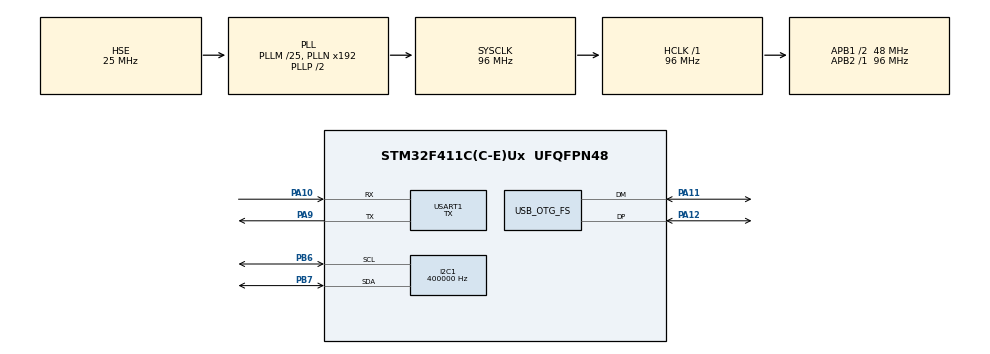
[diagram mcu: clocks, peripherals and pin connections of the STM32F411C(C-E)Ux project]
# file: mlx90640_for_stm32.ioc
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I2C1.ClockSpeed=400000
I2C1.I2C_Mode=I2C_Fast
Mcu.Family=STM32F4
Mcu.Name=STM32F411C(C-E)Ux
Mcu.Package=UFQFPN48
NVIC.OTG_FS_IRQn=true\:0\:0\:false\:false\:true\:false\:true\:true
NVIC.PriorityGroup=NVIC_PRIORITYGROUP_4
PA10.Mode=Asynchronous
PA10.Signal=USART1_RX
PA11.Mode=Device_Only
PA11.Signal=USB_OTG_FS_DM
PA12.Mode=Device_Only
PA12.Signal=USB_OTG_FS_DP
PA9.Mode=Asynchronous
PA9.Signal=USART1_TX
PB6.Mode=I2C
PB6.Signal=I2C1_SCL
PB7.Mode=I2C
PB7.Signal=I2C1_SDA
PH0\ -\ OSC_IN.Mode=HSE-External-Oscillator
PH0\ -\ OSC_IN.Signal=RCC_OSC_IN
PH1\ -\ OSC_OUT.Mode=HSE-External-Oscillator
PH1\ -\ OSC_OUT.Signal=RCC_OSC_OUT
ProjectManager.HeapSize=0x200
ProjectManager.StackSize=0x10000
ProjectManager.TargetToolchain=MDK-ARM V5.32
RCC.48MHZClocksFreq_Value=48000000
RCC.AHBFreq_Value=96000000
RCC.APB1CLKDivider=RCC_HCLK_DIV2
RCC.APB1Freq_Value=48000000
RCC.APB1TimFreq_Value=96000000
RCC.APB2Freq_Value=96000000
RCC.APB2TimFreq_Value=96000000
RCC.CortexFreq_Value=96000000
RCC.HCLKFreq_Value=96000000
RCC.HSE_VALUE=25000000
RCC.HSI_VALUE=16000000
RCC.LSE_VALUE=32768
RCC.PLLM=25
RCC.SYSCLKFreq_VALUE=96000000
RCC.SYSCLKSource=RCC_SYSCLKSOURCE_PLLCLK
RCC.VCOOutputFreq_Value=192000000
USART1.Mode=MODE_TX
USART1.VirtualMode=VM_ASYNC
USB_DEVICE.CLASS_NAME_FS=CDC
USB_DEVICE.MANUFACTURER_STRING=MLX90640_DEV
USB_DEVICE.PRODUCT_STRING_CDC_FS=MLX90640
USB_DEVICE.VirtualMode=Cdc
USB_DEVICE.VirtualModeFS=Cdc_FS
USB_OTG_FS.VirtualMode=Device_Only
VP_USB_DEVICE_VS_USB_DEVICE_CDC_FS.Mode=CDC_FS
board=custom

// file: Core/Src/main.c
/* USER CODE BEGIN Header */
/**
  ******************************************************************************
  * @file           : main.c
  * @brief          : Main program body
  ******************************************************************************
  * @attention
  *
  * Copyright (c) 2023 STMicroelectronics.
  * All rights reserved.
  *
  * This software is licensed under terms that can be found in the LICENSE file
  * in the root directory of this software component.
  * If no LICENSE file comes with this software, it is provided AS-IS.
  *
  ******************************************************************************
  */
/* USER CODE END Header */
#include "main.h"
#include "usb_device.h"

/* USER CODE BEGIN Includes */
#include <stdio.h>
#include "MLX90640_API.h"
#include "usbd_cdc_if.h"
/* USER CODE END Includes */

/* USER CODE BEGIN PD */

#define  FPS2HZ   0x02
#define  FPS4HZ   0x03
#define  FPS8HZ   0x04
#define  FPS16HZ  0x05
#define  FPS32HZ  0x06
#define  MLX90640_ADDR 0x33

#define  TA_SHIFT 8 //Default shift for MLX90640 in open air

#define USB_SET_CMD	(0xAA)	/* usb cdc 控制下发此命令，则认为控制mlx90640 */

/* USER CODE END PD */

I2C_HandleTypeDef hi2c1;

UART_HandleTypeDef huart1;

/* USER CODE BEGIN PV */

static uint16_t eeMLX90640[832];
static float mlx90640To[768];
static int16_t usb_buffer[768 + 8];	//四个 0xFFFF帧头�?+ 四个 0xEFEF 帧尾
uint16_t frame[834];
float emissivity=0.95;

/* fps 设置 */
uint8_t	RefreshRate = FPS16HZ;
uint8_t delay_fps = 16;	//默认16

enum type_def{
	type_null				= 0,
	type_set_fps,
	type_get_fps,
} ;

#define USB_CONTROL_DATA_SIZE	(12)
volatile struct {
	uint8_t flag;
	uint8_t type;
	uint8_t length;
	uint8_t data[USB_CONTROL_DATA_SIZE];
	uint8_t data_tx[USB_CONTROL_DATA_SIZE];
} usb_control_hand;

paramsMLX90640 mlx90640;

/* USER CODE END PV */

void SystemClock_Config(void);
static void MX_GPIO_Init(void);
static void MX_I2C1_Init(void);
static void MX_USART1_UART_Init(void);
/* USER CODE BEGIN PFP */

void usb_control_handler(void);
void mlx90640_refresh(void);

/* USER CODE END PFP */

/* USER CODE BEGIN 0 */
uint8_t usb_send_str[] = "this message from stm32!";
/* USER CODE END 0 */

int main(void)
{
  /* USER CODE BEGIN 1 */

	int status;

  /* USER CODE END 1 */

  /* MCU Configuration--------------------------------------------------------*/

  /* Reset of all peripherals, Initializes the Flash interface and the Systick. */
  HAL_Init();

  /* Configure the system clock */
  SystemClock_Config();

  /* Initialize all configured peripherals */
  MX_GPIO_Init();
  MX_I2C1_Init();
  MX_USART1_UART_Init();
  MX_USB_DEVICE_Init();
  /* USER CODE BEGIN 2 */

	HAL_Delay(1500);	/* 等待mlx90640稳定 */

	status = MLX90640_SetRefreshRate(MLX90640_ADDR, RefreshRate);
	if (status != 0) printf("\r\nMLX90640_SetRefreshRate error with code:%d\r\n",status);

	status = MLX90640_SetChessMode(MLX90640_ADDR);
	if (status != 0) printf("\r\nMLX90640_SetChessMode error with code:%d\r\n",status);

  status = MLX90640_DumpEE(MLX90640_ADDR, eeMLX90640);
  if (status != 0) printf("\r\nload system parameters error with code:%d\r\n",status);

  status = MLX90640_ExtractParameters(eeMLX90640, &mlx90640);
  if (status != 0) printf("\r\nParameter extraction failed with error code:%d\r\n",status);

  /* USER CODE END 2 */

  /* Infinite loop */
  while (1)
  {

    /* USER CODE BEGIN 3 */

		usb_control_handler();
		mlx90640_refresh();

  }
  /* USER CODE END 3 */
}

void SystemClock_Config(void)
{
  RCC_OscInitTypeDef RCC_OscInitStruct = {0};
  RCC_ClkInitTypeDef RCC_ClkInitStruct = {0};

  /** Configure the main internal regulator output voltage
  */
  __HAL_RCC_PWR_CLK_ENABLE();
  __HAL_PWR_VOLTAGESCALING_CONFIG(PWR_REGULATOR_VOLTAGE_SCALE1);

  /** Initializes the RCC Oscillators according to the specified parameters
  * in the RCC_OscInitTypeDef structure.
  */
  RCC_OscInitStruct.OscillatorType = RCC_OSCILLATORTYPE_HSE;
  RCC_OscInitStruct.HSEState = RCC_HSE_ON;
  RCC_OscInitStruct.PLL.PLLState = RCC_PLL_ON;
  RCC_OscInitStruct.PLL.PLLSource = RCC_PLLSOURCE_HSE;
  RCC_OscInitStruct.PLL.PLLM = 25;
  RCC_OscInitStruct.PLL.PLLN = 192;
  RCC_OscInitStruct.PLL.PLLP = RCC_PLLP_DIV2;
  RCC_OscInitStruct.PLL.PLLQ = 4;
  if (HAL_RCC_OscConfig(&RCC_OscInitStruct) != HAL_OK)
  {
    Error_Handler();
  }

  /** Initializes the CPU, AHB and APB buses clocks
  */
  RCC_ClkInitStruct.ClockType = RCC_CLOCKTYPE_HCLK|RCC_CLOCKTYPE_SYSCLK
                              |RCC_CLOCKTYPE_PCLK1|RCC_CLOCKTYPE_PCLK2;
  RCC_ClkInitStruct.SYSCLKSource = RCC_SYSCLKSOURCE_PLLCLK;
  RCC_ClkInitStruct.AHBCLKDivider = RCC_SYSCLK_DIV1;
  RCC_ClkInitStruct.APB1CLKDivider = RCC_HCLK_DIV2;
  RCC_ClkInitStruct.APB2CLKDivider = RCC_HCLK_DIV1;

  if (HAL_RCC_ClockConfig(&RCC_ClkInitStruct, FLASH_LATENCY_3) != HAL_OK)
  {
    Error_Handler();
  }
}

static void MX_I2C1_Init(void)
{

  hi2c1.Instance = I2C1;
  hi2c1.Init.ClockSpeed = 400000;
  hi2c1.Init.DutyCycle = I2C_DUTYCYCLE_2;
  hi2c1.Init.OwnAddress1 = 0;
  hi2c1.Init.AddressingMode = I2C_ADDRESSINGMODE_7BIT;
  hi2c1.Init.DualAddressMode = I2C_DUALADDRESS_DISABLE;
  hi2c1.Init.OwnAddress2 = 0;
  hi2c1.Init.GeneralCallMode = I2C_GENERALCALL_DISABLE;
  hi2c1.Init.NoStretchMode = I2C_NOSTRETCH_DISABLE;
  if (HAL_I2C_Init(&hi2c1) != HAL_OK)
  {
    Error_Handler();
  }

}

static void MX_USART1_UART_Init(void)
{

  huart1.Instance = USART1;
  huart1.Init.BaudRate = 115200;
  huart1.Init.WordLength = UART_WORDLENGTH_8B;
  huart1.Init.StopBits = UART_STOPBITS_1;
  huart1.Init.Parity = UART_PARITY_NONE;
  huart1.Init.Mode = UART_MODE_TX;
  huart1.Init.HwFlowCtl = UART_HWCONTROL_NONE;
  huart1.Init.OverSampling = UART_OVERSAMPLING_16;
  if (HAL_UART_Init(&huart1) != HAL_OK)
  {
    Error_Handler();
  }

}

static void MX_GPIO_Init(void)
{

  /* GPIO Ports Clock Enable */
  __HAL_RCC_GPIOH_CLK_ENABLE();
  __HAL_RCC_GPIOA_CLK_ENABLE();
  __HAL_RCC_GPIOB_CLK_ENABLE();

}

/* USER CODE BEGIN 4 */

FILE __stdout;

int fputc(int c, FILE *f)
{
	uint8_t byte = (uint8_t)c;
	f = f;
	HAL_UART_Transmit(&huart1, (const uint8_t * )&byte, 1, 20);
	return 0;
}

/**
  * @brief  CDC 控制接口函数的转发函�?
  * @param  cmd: Command code
  * @param  pbuf: Buffer containing command data (request parameters)
  * @param  length: Number of data to be sent (in bytes)
  * @retval null
  */
void CDC_Control_FS_forwarding(uint8_t cmd, uint8_t* pbuf, uint16_t length)
{
	if ((cmd == USB_SET_CMD) && (length > 0))
	{
		usb_control_hand.type = pbuf[0];
		if ((length - 1) <= USB_CONTROL_DATA_SIZE)
		{
			usb_control_hand.length = length - 1;
			for (uint8_t i = 0; i < (length - 1); i++)
			{
				usb_control_hand.data[i] = pbuf[1 + i];
			}
		}
		usb_control_hand.flag = 1;
	}
}

/**
  * @brief  处理usb控制端口的数�?
  * @retval null
  */
void usb_control_handler(void)
{
	if (usb_control_hand.flag)
	{
		switch (usb_control_hand.type)
		{
			case type_set_fps:
			{
				if (usb_control_hand.data[0] == 2)
				{
					if (MLX90640_SetRefreshRate(MLX90640_ADDR, FPS2HZ) == 0)
					{
						RefreshRate = FPS2HZ;
						delay_fps = 2;
					}
					else
					{
						printf("set fps error!\r\n");
					}
				}
				else if (usb_control_hand.data[0] == 4)
				{
					if (MLX90640_SetRefreshRate(MLX90640_ADDR, FPS4HZ) == 0)
					{
						RefreshRate = FPS4HZ;
						delay_fps = 4;
					}
					else
					{
						printf("set fps error!\r\n");
					}
				}
				else if (usb_control_hand.data[0] == 8)
				{
					if (MLX90640_SetRefreshRate(MLX90640_ADDR, FPS8HZ) == 0)
					{
						RefreshRate = FPS8HZ;
						delay_fps = 8;
					}
					else
					{
						printf("set fps error!\r\n");
					}
				}
				else if (usb_control_hand.data[0] == 16)
				{
					if (MLX90640_SetRefreshRate(MLX90640_ADDR, FPS16HZ) == 0)
					{
						RefreshRate = FPS16HZ;
						delay_fps = 16;
					}
					else
					{
						printf("set fps error!\r\n");
					}
				}
				else if (usb_control_hand.data[0] == 32)
				{
					if (MLX90640_SetRefreshRate(MLX90640_ADDR, FPS32HZ) == 0)
					{
						RefreshRate = FPS32HZ;
						delay_fps = 32;
					}
					else
					{
						printf("set fps error!\r\n");
					}
				}
				break;
			}
			case type_get_fps:
			{
				break;
			}
		}

		usb_control_hand.flag = 0;
	}
}

volatile static uint8_t usb_busy_flag = 0;
/**
  * @brief  采集 mlx 数据并上�?
  * @retval null
  */
void mlx90640_refresh(void)
{
	int status;

	status = MLX90640_GetFrameData(MLX90640_ADDR, frame);
	if (status < 0)
	{
		printf("GetFrame Error: %d\r\n",status);
		HAL_Delay(500);
		return;
	}

	float vdd = MLX90640_GetVdd(frame, &mlx90640);
	float Ta = MLX90640_GetTa(frame, &mlx90640);

	float tr = Ta - TA_SHIFT; //Reflected temperature based on the sensor ambient temperature

	MLX90640_CalculateTo(frame, &mlx90640, emissivity , tr, mlx90640To);

	for(int i = 0; i < 768; i++){
		usb_buffer[4 + i] = (int16_t)(mlx90640To[i]*100);
	}

	while (usb_busy_flag){HAL_Delay(20);}
	usb_buffer[0] = 0xFFFF;
	usb_buffer[1] = 0xFFFF;
	usb_buffer[2] = 0xFFFF;
	usb_buffer[3] = 0xFFFF;
	usb_buffer[(sizeof(usb_buffer)/2) - 1] = (int16_t)0xEFEF;
	usb_buffer[(sizeof(usb_buffer)/2) - 2] = (int16_t)0xEFEF;
	usb_buffer[(sizeof(usb_buffer)/2) - 3] = (int16_t)0xEFEF;
	usb_buffer[(sizeof(usb_buffer)/2) - 4] = (int16_t)0xEFEF;

	usb_busy_flag = 1;
	CDC_Transmit_FS((uint8_t *)usb_buffer, sizeof(usb_buffer));

	//HAL_Delay(20);
}

void usb_send_done_callback(void)
{
	usb_busy_flag = 0;
}

/* USER CODE END 4 */

void Error_Handler(void)
{
  __disable_irq();
  while (1)
  {
  }
}
